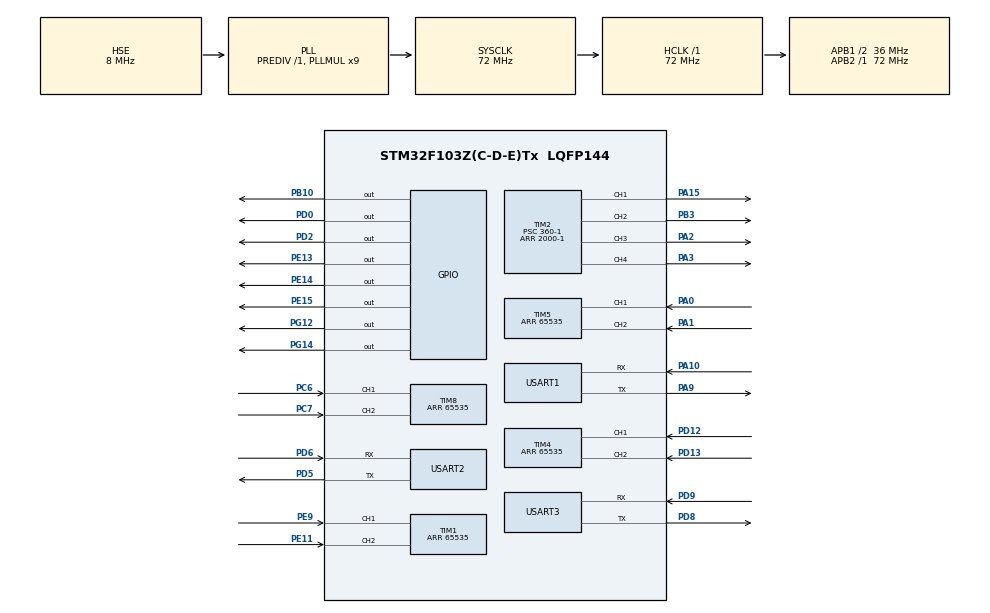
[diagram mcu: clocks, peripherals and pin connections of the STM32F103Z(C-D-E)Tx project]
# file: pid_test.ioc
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Mcu.Family=STM32F1
Mcu.Name=STM32F103Z(C-D-E)Tx
Mcu.Package=LQFP144
NVIC.PriorityGroup=NVIC_PRIORITYGROUP_4
NVIC.TIM1_CC_IRQn=true\:0\:0\:false\:false\:true\:true\:true
NVIC.TIM2_IRQn=true\:0\:0\:false\:false\:true\:true\:true
NVIC.TIM3_IRQn=true\:0\:0\:false\:false\:true\:true\:true
NVIC.TIM4_IRQn=true\:0\:0\:false\:false\:true\:true\:true
NVIC.TIM5_IRQn=true\:0\:0\:false\:false\:true\:true\:true
NVIC.TIM8_CC_IRQn=true\:0\:0\:false\:false\:true\:true\:true
NVIC.USART1_IRQn=true\:0\:0\:false\:false\:true\:true\:true
NVIC.USART2_IRQn=true\:0\:0\:false\:false\:true\:true\:true
NVIC.USART3_IRQn=true\:0\:0\:false\:false\:true\:true\:true
OSC_IN.Mode=HSE-External-Oscillator
OSC_IN.Signal=RCC_OSC_IN
OSC_OUT.Mode=HSE-External-Oscillator
OSC_OUT.Signal=RCC_OSC_OUT
PA0-WKUP.Signal=S_TIM5_CH1
PA1.Signal=S_TIM5_CH2
PA10.Mode=Asynchronous
PA10.Signal=USART1_RX
PA13.Mode=Serial_Wire
PA13.Signal=SYS_JTMS-SWDIO
PA14.Mode=Serial_Wire
PA14.Signal=SYS_JTCK-SWCLK
PA15.Signal=S_TIM2_CH1_ETR
PA2.Signal=S_TIM2_CH3
PA3.Signal=S_TIM2_CH4
PA9.Mode=Asynchronous
PA9.Signal=USART1_TX
PB10.Signal=GPIO_Output
PB3.Signal=S_TIM2_CH2
PC14-OSC32_IN.Mode=LSE-External-Oscillator
PC14-OSC32_IN.Signal=RCC_OSC32_IN
PC15-OSC32_OUT.Mode=LSE-External-Oscillator
PC15-OSC32_OUT.Signal=RCC_OSC32_OUT
PC6.Signal=S_TIM8_CH1
PC7.Signal=S_TIM8_CH2
PD0.Signal=GPIO_Output
PD12.Signal=S_TIM4_CH1
PD13.Signal=S_TIM4_CH2
PD2.Signal=GPIO_Output
PD5.Mode=Asynchronous
PD5.Signal=USART2_TX
PD6.Mode=Asynchronous
PD6.Signal=USART2_RX
PD8.Mode=Asynchronous
PD8.Signal=USART3_TX
PD9.Mode=Asynchronous
PD9.Signal=USART3_RX
PE11.Signal=S_TIM1_CH2
PE13.Signal=GPIO_Output
PE14.Signal=GPIO_Output
PE15.Signal=GPIO_Output
PE9.Signal=S_TIM1_CH1
PG12.Signal=GPIO_Output
PG14.Signal=GPIO_Output
ProjectManager.HeapSize=0x200
ProjectManager.StackSize=0x400
ProjectManager.TargetToolchain=MDK-ARM V5.27
RCC.AHBFreq_Value=72000000
RCC.APB1CLKDivider=RCC_HCLK_DIV2
RCC.APB1Freq_Value=36000000
RCC.APB1TimFreq_Value=72000000
RCC.APB2Freq_Value=72000000
RCC.APB2TimFreq_Value=72000000
RCC.HCLKFreq_Value=72000000
RCC.PLLMUL=RCC_PLL_MUL9
RCC.PLLSourceVirtual=RCC_PLLSOURCE_HSE
RCC.SYSCLKFreq_VALUE=72000000
RCC.SYSCLKSource=RCC_SYSCLKSOURCE_PLLCLK
RCC.USBFreq_Value=72000000
SH.S_TIM1_CH1.0=TIM1_CH1,Encoder_Interface
SH.S_TIM1_CH2.0=TIM1_CH2,Encoder_Interface
SH.S_TIM2_CH1_ETR.0=TIM2_CH1,PWM Generation1 CH1
SH.S_TIM2_CH2.0=TIM2_CH2,PWM Generation2 CH2
SH.S_TIM2_CH3.0=TIM2_CH3,PWM Generation3 CH3
SH.S_TIM2_CH4.0=TIM2_CH4,PWM Generation4 CH4
SH.S_TIM4_CH1.0=TIM4_CH1,Encoder_Interface
SH.S_TIM4_CH2.0=TIM4_CH2,Encoder_Interface
SH.S_TIM5_CH1.0=TIM5_CH1,Encoder_Interface
SH.S_TIM5_CH2.0=TIM5_CH2,Encoder_Interface
SH.S_TIM8_CH1.0=TIM8_CH1,Encoder_Interface
SH.S_TIM8_CH2.0=TIM8_CH2,Encoder_Interface
TIM1.EncoderMode=TIM_ENCODERMODE_TI12
TIM1.Period=65535
TIM2.Channel-PWM\ Generation1\ CH1=TIM_CHANNEL_1
TIM2.Channel-PWM\ Generation2\ CH2=TIM_CHANNEL_2
TIM2.Channel-PWM\ Generation3\ CH3=TIM_CHANNEL_3
TIM2.Channel-PWM\ Generation4\ CH4=TIM_CHANNEL_4
TIM2.Period=2000-1
TIM2.Prescaler=360-1
TIM3.Period=1000-1
TIM3.Prescaler=720-1
TIM4.EncoderMode=TIM_ENCODERMODE_TI12
TIM4.Period=65535
TIM5.EncoderMode=TIM_ENCODERMODE_TI12
TIM5.Period=65535
TIM8.EncoderMode=TIM_ENCODERMODE_TI12
TIM8.Period=65535
USART1.VirtualMode=VM_ASYNC
USART2.VirtualMode=VM_ASYNC
USART3.VirtualMode=VM_ASYNC
VP_TIM2_VS_ClockSourceINT.Mode=Internal
VP_TIM3_VS_ClockSourceINT.Mode=Internal
board=custom

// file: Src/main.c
/* USER CODE BEGIN Header */
/**
  ******************************************************************************
  * @file           : main.c
  * @brief          : Main program body
  ******************************************************************************
  * @attention
  *
  * <h2><center>&copy; Copyright (c) 2022 STMicroelectronics.
  * All rights reserved.</center></h2>
  *
  * This software component is licensed by ST under BSD 3-Clause license,
  * the "License"; You may not use this file except in compliance with the
  * License. You may obtain a copy of the License at:
  *                        opensource.org/licenses/BSD-3-Clause
  *
  ******************************************************************************
  */
/* USER CODE END Header */

#include "main.h"
#include "tim.h"
#include "usart.h"
#include "gpio.h"

/* USER CODE BEGIN Includes */
#include "stdio.h"
#include "pid.h"
#include "motor.h"
#include "jy901.h"
#include "openmv.h"
#include "delay.h"
int realspeed_MA;
int realspeed_MB;
int realspeed_MC;
int realspeed_MD;
unsigned int pwm_MA;

struct FILE
{
	int handle;
};

int fputc(int ch,FILE *f)
{
	 HAL_UART_Transmit(&huart1,(uint8_t*)&ch,1,0xffff);
	return ch;
}

float x=0;
float y=0;
float z=0;
float a=0;

int basepwm=30;
int _StraightSingal=2;
int _TurnSingal=2;
int testusart2[1];
int testusart3[1];
/* USER CODE END Includes */

void SystemClock_Config(void);

/* USER CODE BEGIN 0 */
 int Read_MA_Encoder(uint8_t TIMX)
{
	int Encoder_MA_TIM;
	switch(TIMX)
	{
		case 1:
			Encoder_MA_TIM=(short)TIM1->CNT;
			TIM1->CNT=0;
			break;
		case 4:
			Encoder_MA_TIM=(short)TIM4->CNT;
			TIM4->CNT=0;
			break;
		case 5:
			Encoder_MA_TIM=(short)TIM5->CNT;
			TIM5->CNT=0;
			break;
		case 8:
			Encoder_MA_TIM=(short)TIM8->CNT;
			TIM8->CNT=0;
			break;
		default:
			Encoder_MA_TIM=0;

	}
	return Encoder_MA_TIM;
}

void HAL_TIM_PeriodElapsedCallback(TIM_HandleTypeDef *htim)
{
	realspeed_MA=Read_MA_Encoder(1);
	realspeed_MB=Read_MA_Encoder(4);
	realspeed_MC=Read_MA_Encoder(5);
	realspeed_MD=Read_MA_Encoder(8);

	//_TurnSingal=LineOpenMV_TurnSingal();
//	if(_TurnSingal==1){_StraightSingal=2;}
	if(_StraightSingal==1&&_TurnSingal==2)
	{
		openmv_setpwm=LineOpenMV_GetPWM();
		if(LineOpenMV_StopSingal()==1)
		{
			basepwm=0;
			openmv_setpwm=0;
		}
		else
		{
			basepwm=30;
		}
	ChassisLine_Openmv(basepwm,openmv_setpwm);
	}
	else if(_TurnSingal==1 )//&& _StraightSingal==2
	{
		//_StraightSingal=2;
		if(openmv_turnway>0)
		{
			TurnChassis_Tim(30);
		}
		else if(openmv_turnway<0)
		{
			TurnChassis_Tim(-30);
		}
//		delay_ms(1000);
//		delay_ms(1000);
		//MYDelay_ms(380);
		__HAL_TIM_SET_COMPARE(&htim2,TIM_CHANNEL_1,0);
		__HAL_TIM_SET_COMPARE(&htim2,TIM_CHANNEL_2,0);
		__HAL_TIM_SET_COMPARE(&htim2,TIM_CHANNEL_3,0);
		__HAL_TIM_SET_COMPARE(&htim2,TIM_CHANNEL_4,0);
		//MYDelay_ms(380);
		_TurnSingal=2;
	    //_StraightSingal=1;
		//MYDelay_ms(380);
	}
	else
	{
		__HAL_TIM_SET_COMPARE(&htim2,TIM_CHANNEL_1,0);
		__HAL_TIM_SET_COMPARE(&htim2,TIM_CHANNEL_2,0);
		__HAL_TIM_SET_COMPARE(&htim2,TIM_CHANNEL_3,0);
		__HAL_TIM_SET_COMPARE(&htim2,TIM_CHANNEL_4,0);
	}

}
void HAL_UART_RxCpltCallback(UART_HandleTypeDef *UartHandle)
{

	if(UartHandle->Instance==USART3)
	{
		NumOpenMV_Recieve();

	}
    if(UartHandle->Instance==USART1)
	{
		LineOpenMV_Recieve();
	}
	if(UartHandle->Instance==USART2)
	{
//		JY901_data.Rx_len=33;
//		JY901_Process(&JY901_data);
//		HAL_UART_Receive_IT(&huart3,JY901_data.RxBuffer,RXBUFFER_LEN);
	}
}
/* USER CODE END 0 */

int main(void)
{

  /* MCU Configuration--------------------------------------------------------*/

  /* Reset of all peripherals, Initializes the Flash interface and the Systick. */
  HAL_Init();

  /* Configure the system clock */
  SystemClock_Config();

  /* Initialize all configured peripherals */
  MX_GPIO_Init();
  MX_USART1_UART_Init();
  MX_TIM1_Init();
  MX_TIM2_Init();
  MX_TIM3_Init();
  MX_TIM4_Init();
  MX_TIM5_Init();
  MX_TIM8_Init();
  MX_USART2_UART_Init();
  MX_USART3_UART_Init();
  /* USER CODE BEGIN 2 */
HAL_TIM_Encoder_Start(&htim1,TIM_CHANNEL_ALL);
HAL_TIM_Encoder_Start(&htim4,TIM_CHANNEL_ALL);
HAL_TIM_Encoder_Start(&htim5,TIM_CHANNEL_ALL);
HAL_TIM_Encoder_Start(&htim8,TIM_CHANNEL_ALL);
HAL_TIM_PWM_Start(&htim2,TIM_CHANNEL_1);
HAL_TIM_PWM_Start(&htim2,TIM_CHANNEL_2);
HAL_TIM_PWM_Start(&htim2,TIM_CHANNEL_3);
HAL_TIM_PWM_Start(&htim2,TIM_CHANNEL_4);

//开启定时器中断服务函数
HAL_TIM_Base_Start_IT(&htim3);

//初始化pid
pid_Init();
motor_Init();
User_USART_Init(&JY901_data);
HAL_UART_Receive_IT(&huart2,JY901_data.RxBuffer,RXBUFFER_LEN);
MB_ENA_OUT1_H;
MB_ENA_OUT2_H;
__HAL_TIM_SET_COMPARE(&htim2,TIM_CHANNEL_1,0);
LineOpenMV_Init();
NumOpenMV_Init();
PY_usDelayTest();
PY_usDelayOptimize();
  /* USER CODE END 2 */

  /* Infinite loop */
  /* USER CODE BEGIN WHILE */
  while (1)
  {

//	  OutData[1]=2E(&htim2,TIM_CHANNEL_1,500);
//	  OutData[0]=1000;000;
//	  OutData[2]=3000;
//	  OutData[3]=4000;
	  //OutPut_Data();
	  x=JY901_data.angle.angle[0];
	  y=JY901_data.angle.angle[1];
	  z=JY901_data.angle.angle[2];
	  a=JY901_data.acc.a[2];
    /* USER CODE END WHILE */

  }
}

void SystemClock_Config(void)
{
  RCC_OscInitTypeDef RCC_OscInitStruct = {0};
  RCC_ClkInitTypeDef RCC_ClkInitStruct = {0};

  /** Initializes the CPU, AHB and APB busses clocks
  */
  RCC_OscInitStruct.OscillatorType = RCC_OSCILLATORTYPE_HSE;
  RCC_OscInitStruct.HSEState = RCC_HSE_ON;
  RCC_OscInitStruct.HSEPredivValue = RCC_HSE_PREDIV_DIV1;
  RCC_OscInitStruct.HSIState = RCC_HSI_ON;
  RCC_OscInitStruct.PLL.PLLState = RCC_PLL_ON;
  RCC_OscInitStruct.PLL.PLLSource = RCC_PLLSOURCE_HSE;
  RCC_OscInitStruct.PLL.PLLMUL = RCC_PLL_MUL9;
  if (HAL_RCC_OscConfig(&RCC_OscInitStruct) != HAL_OK)
  {
    Error_Handler();
  }
  /** Initializes the CPU, AHB and APB busses clocks
  */
  RCC_ClkInitStruct.ClockType = RCC_CLOCKTYPE_HCLK|RCC_CLOCKTYPE_SYSCLK
                              |RCC_CLOCKTYPE_PCLK1|RCC_CLOCKTYPE_PCLK2;
  RCC_ClkInitStruct.SYSCLKSource = RCC_SYSCLKSOURCE_PLLCLK;
  RCC_ClkInitStruct.AHBCLKDivider = RCC_SYSCLK_DIV1;
  RCC_ClkInitStruct.APB1CLKDivider = RCC_HCLK_DIV2;
  RCC_ClkInitStruct.APB2CLKDivider = RCC_HCLK_DIV1;

  if (HAL_RCC_ClockConfig(&RCC_ClkInitStruct, FLASH_LATENCY_2) != HAL_OK)
  {
    Error_Handler();
  }
}

void Error_Handler(void)
{
}

/************************ (C) COPYRIGHT STMicroelectronics *****END OF FILE****/
